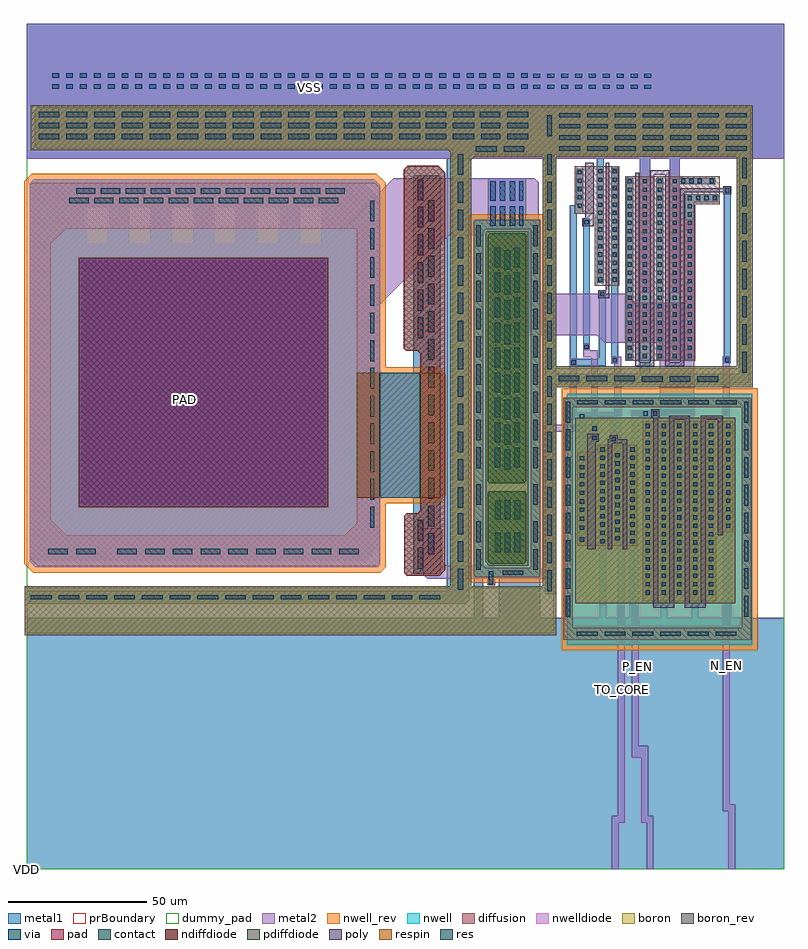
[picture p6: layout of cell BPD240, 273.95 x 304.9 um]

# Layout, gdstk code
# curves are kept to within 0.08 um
import gdstk
lib = gdstk.Library(unit=1e-6, precision=1e-09)
def R(c, l, rs):  # rectangles x0, y0, x1, y1
    for r in rs: c.add(gdstk.rectangle(r[:2], r[2:], *l))
def A(c, l, x, y, w, h, nx, ny, dx, dy):  # array of equal rectangles
    R(c, l, [(x+i*dx, y+j*dy, x+i*dx+w, y+j*dy+h) for i in range(nx) for j in range(ny)])
def P(c, l, *ps):  # polygons
    for p in ps: c.add(gdstk.Polygon(p, *l))
nwell = (1, 0)
diffusion = (2, 0)
nwell_rev = (3, 0)
poly = (4, 0)
boron = (5, 0)
boron_rev = (6, 0)
contact = (7, 0)
metal1 = (8, 0)
via = (9, 0)
metal2 = (10, 0)
pad = (11, 0)
prBoundary = (28, 0)
res = (35, 0)
respin = (36, 0)
pdiffdiode = (37, 0)
nwelldiode = (38, 0)
ndiffdiode = (39, 0)
dummy_pad = (40, 0)

bpd240 = lib.new_cell('BPD240')
R(bpd240, nwell, [(194.95,81.05,261.6,171.4)])
P(bpd240, nwell, [(161.5,105.25),(161.15,105.6),(161.15,233.95),(161.45,234.25),(185,234.25),(185.15,234.1),(185.15,105.6),(184.8,105.25)],
  [(3.15,108.95),(1.05,111.05),(1.05,247.25),(2.6,248.8),(125.25,248.8),(127.4,246.65),(127.4,179.652),(128.002,179.05),(147.45,179.05),(149.1,177.4),(149.1,135.7),(147.45,134.05),(128.058,134.05),(127.45,133.442),(127.45,109.75),(126.65,108.95)])
P(bpd240, diffusion, [(137.101,105.95),(136.1,106.951),(136.1,127.549),(136.951,128.4),(140.987,128.4),(141.85,129.263),(141.85,185.999),(140.849,187),(136.906,187),(136,187.906),(136,252.285),(137.365,253.65),(148.4,253.65),(150.9,251.15),(150.9,108.002),(148.848,105.95)],
  [(193.35,82.75),(193.35,87.2),(193.4,87.2),(193.4,170.1),(257.7,170.1),(257.7,166.6),(196.9,166.6),(196.9,87.2),(257.7,87.2),(257.7,170.1),(261.2,170.1),(261.2,82.75)],
  [(0,85.15),(0,101.45),(153.45,101.45),(153.45,259.248),(152.848,259.85),(3.814,259.85),(2.85,260.814),(2.85,273.45),(4.05,274.65),(186.75,274.65),(186.75,257.65),(160.704,257.65),(159.55,256.496),(159.552,101.45),(186.295,101.45),(186.75,101.905),(186.75,274.65),(256.7,274.65),(256.7,257.65),(190.25,257.65),(190.25,180.7),(256.7,180.7),(256.7,274.65),(261,274.65),(261,174.5),(190.25,174.5),(190.25,85.15)],
  [(222.15,96.6),(222.15,161.6),(254.65,161.6),(254.65,121.6),(248.65,121.6),(248.65,96.6)],
  [(162.101,105.25),(161.15,106.201),(161.15,233.344),(162.056,234.25),(181.65,234.25),(181.65,230.75),(165.536,230.75),(164.65,229.864),(164.65,109.515),(165.415,108.75),(181.395,108.75),(181.65,109.005),(181.65,234.25),(184.95,234.25),(185.15,234.05),(185.15,106.052),(184.348,105.25)],
  [(3.95,109.3),(1.05,112.2),(1.05,246.563),(2.037,247.55),(119,247.55),(119,231),(14.214,231),(8.7,225.486),(8.7,126.204),(14.404,120.5),(114.449,120.5),(119,125.051),(119,247.55),(125.563,247.55),(127.35,245.763),(127.35,109.952),(126.698,109.3)],
  [(167.105,110.25),(166.15,111.205),(166.15,135.6),(166.8,136.25),(179.65,136.25),(180.15,135.75),(180.15,111.15),(179.25,110.25)],
  [(215.7,183.3),(215.7,249.95),(249.8,249.95),(249.8,239.8),(240.95,239.8),(240.95,183.3)],
  [(166.752,139.25),(166.15,139.852),(166.15,228.35),(167.05,229.25),(179.448,229.25),(180.15,228.548),(180.15,140.156),(179.244,139.25)],
  [(198.45,116.6),(198.45,150.6),(205.65,150.6),(205.65,153.1),(220.15,153.1),(220.15,116.6)],
  [(204.85,210.4),(204.85,236.4),(197.65,236.4),(197.65,253.4),(213.7,253.4),(213.7,210.4)])
R(bpd240, nwell_rev, [(192.95,79.05,263.6,173.4)])
P(bpd240, nwell_rev, [(160.672,103.25),(159.15,104.772),(159.15,234.778),(160.622,236.25),(185.828,236.25),(187.15,234.928),(187.15,104.772),(185.628,103.25)],
  [(2.322,106.95),(-0.95,110.222),(-0.95,248.078),(1.772,250.8),(126.078,250.8),(129.4,247.478),(129.4,181.05),(148.278,181.05),(151.1,178.228),(151.1,134.872),(148.278,132.05),(129.45,132.05),(129.45,108.922),(127.478,106.95)])
P(bpd240, poly, [(225.85,94.3),(225.85,162.9),(225.15,162.9),(225.15,165.8),(228.1,165.8),(228.1,162.9),(227.65,162.9),(227.65,96.1),(231.55,96.1),(231.55,163.6),(239.05,163.6),(239.05,96.1),(242.95,96.1),(242.95,163.6),(250.95,163.6),(250.95,120.4),(249.15,120.4),(249.15,162.1),(244.75,162.1),(244.75,94.3),(237.25,94.3),(237.25,162.1),(233.35,162.1),(233.35,94.3)],
  [(219.4,181.3),(219.4,251.15),(220.9,251.15),(220.9,182.8),(224.8,182.8),(224.8,251.95),(231.7,251.95),(231.7,182.8),(235.6,182.8),(235.6,245.6),(251.05,245.6),(251.05,246.2),(254,246.2),(254,243.3),(251.05,243.3),(251.05,244.1),(237.1,244.1),(237.1,181.3),(230.2,181.3),(230.2,250.45),(226.3,250.45),(226.3,181.3)],
  [(209.55,115.4),(209.55,155),(210.1,155),(210.1,156.5),(213.05,156.5),(213.05,155),(216.45,155),(216.45,115.4),(214.95,115.4),(214.95,153.6),(211.05,153.6),(211.05,115.4)],
  [(202.15,115.4),(202.15,157),(206.15,157),(206.15,154.1),(205.15,154.1),(205.15,115.4)],
  [(206,205.95),(206,208.85),(208.8,208.85),(208.8,254.65),(210,254.65),(210,205.95)],
  [(200.35,231.8),(200.35,234.7),(201.35,234.7),(201.35,254.65),(204.35,254.65),(204.35,231.8)])
R(bpd240, boron, [(197.75,95.9,255.45,162.85)])
P(bpd240, boron, [(-0.7,84.45),(-0.7,102.15),(152.75,102.15),(152.75,258.6),(152.2,259.15),(1.4,259.15),(1.4,275.45),(186.05,275.45),(186.05,256.95),(161.451,256.95),(160.25,255.749),(160.25,102.15),(185.7,102.15),(186.05,102.5),(186.05,275.45),(256,275.45),(256,256.95),(190.95,256.95),(190.95,181.45),(256,181.45),(256,275.45),(261.75,275.45),(261.75,173.8),(190.95,173.8),(190.95,84.45)],
  [(166.6,109.55),(165.45,110.7),(165.45,229.5),(165.9,229.95),(180.85,229.95),(180.85,109.55)])
R(bpd240, boron_rev, [(197.75,95.9,255.45,162.85)])
P(bpd240, boron_rev, [(-0.7,84.45),(-0.7,102.15),(152.75,102.15),(152.75,258.6),(152.2,259.15),(1.4,259.15),(1.4,275.45),(186.05,275.45),(186.05,256.95),(161.451,256.95),(160.25,255.749),(160.25,102.15),(185.7,102.15),(186.05,102.5),(186.05,275.45),(256,275.45),(256,256.95),(190.95,256.95),(190.95,181.45),(256,181.45),(256,275.45),(261.75,275.45),(261.75,173.8),(190.95,173.8),(190.95,84.45)],
  [(166.6,109.55),(165.45,110.7),(165.45,229.5),(165.9,229.95),(180.85,229.95),(180.85,109.55)])
A(bpd240, contact, 198.35, 84.25, 7.5, 1.5, 6, 1, 10, 0)
A(bpd240, contact, 194.4, 91.1, 1.5, 7.5, 1, 8, 0, 10)
A(bpd240, contact, 258.7, 91.1, 1.5, 7.5, 1, 8, 0, 10)
A(bpd240, contact, 1.55, 97.3, 7.5, 1.5, 15, 1, 10, 0)
A(bpd240, contact, 223.15, 99.1, 1.5, 1.5, 5, 3, 5.7, 3)
A(bpd240, contact, 187.75, 100.35, 1.5, 7.5, 1, 16, 0, 10)
A(bpd240, contact, 155.45, 100.85, 2, 7.5, 1, 3, 0, 10)
A(bpd240, contact, 228.85, 108.1, 1.5, 1.5, 1, 6, 0, 9)
A(bpd240, contact, 240.25, 108.1, 1.5, 1.5, 1, 6, 0, 9)
A(bpd240, contact, 223.15, 111.1, 1.5, 1.5, 5, 2, 5.7, 3)
A(bpd240, contact, 32.75, 113.55, 7, 2, 9, 1, 10, 0)
A(bpd240, contact, 168.85, 114.4, 2, 7, 3, 2, 3.5, 11.75)
A(bpd240, contact, 206.85, 117.6, 1.5, 1.5, 1, 12, 0, 3)
A(bpd240, contact, 217.65, 117.6, 1.5, 1.5, 1, 12, 0, 3)
A(bpd240, contact, 223.15, 120.1, 1.5, 1.5, 5, 2, 5.7, 3)
A(bpd240, contact, 252.15, 123.1, 1.5, 1.5, 1, 13, 0, 3)
A(bpd240, contact, 123.85, 123.25, 1.5, 7.5, 1, 10, 0, 10)
A(bpd240, contact, 144.85, 123.65, 2, 7.5, 1, 12, 0, 10)
A(bpd240, contact, 212.25, 127.6, 1.5, 1.5, 1, 3, 0, 3)
A(bpd240, contact, 223.15, 129.1, 1.5, 1.5, 5, 2, 5.7, 3)
A(bpd240, contact, 155.45, 130.35, 2, 7.5, 1, 13, 0, 10)
A(bpd240, contact, 223.15, 138.1, 1.5, 1.5, 5, 2, 5.7, 3)
A(bpd240, contact, 172.25, 144.25, 2, 7, 1, 9, 0, 9)
A(bpd240, contact, 162.15, 144.65, 1.5, 7.5, 1, 9, 0, 10)
A(bpd240, contact, 182.65, 144.65, 1.5, 7.5, 1, 9, 0, 10)
A(bpd240, contact, 168.75, 145.05, 2, 7, 1, 9, 0, 9)
A(bpd240, contact, 175.75, 145.05, 2, 7, 1, 9, 0, 9)
A(bpd240, contact, 223.15, 147.1, 1.5, 1.5, 5, 2, 5.7, 3)
A(bpd240, contact, 223.15, 156.1, 1.5, 1.5, 5, 2, 5.7, 3)
A(bpd240, contact, 198.4, 167.6, 7.5, 1.5, 6, 1, 10, 0)
A(bpd240, contact, 221.75, 175.75, 7.5, 2, 3, 1, 10, 0)
A(bpd240, contact, 191.75, 176, 7.5, 2, 3, 1, 10, 0)
A(bpd240, contact, 258, 179.1, 1.5, 7.5, 1, 8, 0, 10)
A(bpd240, contact, 216.7, 184.3, 1.5, 1.5, 5, 2, 5.4, 3)
A(bpd240, contact, 222.1, 190.3, 1.5, 1.5, 1, 3, 0, 6)
A(bpd240, contact, 232.9, 190.3, 1.5, 1.5, 1, 3, 0, 6)
A(bpd240, contact, 141.05, 191.45, 2, 7.5, 1, 5, 0, 10)
A(bpd240, contact, 216.7, 193.3, 1.5, 1.5, 5, 3, 5.4, 6)
A(bpd240, contact, 216.7, 208.3, 1.5, 1.5, 3, 2, 10.8, 6)
A(bpd240, contact, 216.7, 211.3, 1.5, 1.5, 4, 2, 5.4, 18)
A(bpd240, contact, 206.05, 211.9, 1.5, 1.5, 1, 14, 0, 3)
A(bpd240, contact, 211.2, 211.9, 1.5, 1.5, 1, 14, 0, 3)
A(bpd240, contact, 216.7, 217.3, 1.5, 1.5, 5, 2, 5.4, 6)
A(bpd240, contact, 216.7, 226.3, 1.5, 1.5, 3, 1, 10.8, 0)
A(bpd240, contact, 216.7, 232.3, 1.5, 1.5, 5, 4, 5.4, 3)
A(bpd240, contact, 198.65, 238.5, 1.5, 1.5, 1, 5, 0, 3)
A(bpd240, contact, 15.3, 240.05, 7, 2, 11, 1, 9, 0)
A(bpd240, contact, 241.3, 241.3, 1.5, 1.5, 3, 1, 3, 0)
A(bpd240, contact, 17.8, 243.55, 7, 2, 10, 1, 9, 0)
A(bpd240, contact, 216.7, 244.3, 1.5, 1.5, 4, 2, 5.4, 3)
A(bpd240, contact, 235.9, 247.4, 1.5, 1.5, 3, 1, 3, 0)
A(bpd240, contact, 192, 259.1, 7.5, 1.5, 7, 4, 10, 4)
A(bpd240, contact, 4.3, 263.15, 7.5, 2, 14, 3, 10, 4)
A(bpd240, contact, 143.8, 263.15, 7.5, 2, 1, 3, 0, 4)
A(bpd240, contact, 173.3, 263.15, 7.5, 2, 1, 3, 0, 4)
R(bpd240, contact, [(171.55,106.25,179.05,107.75), (162.15,108,163.65,115.5), (182.65,108,184.15,115.5), (141.05,108.4,143.05,115.9), (7.85,113.55,14.85,115.55), (17.85,113.55,24.85,115.55), (162.15,118,163.65,125.5), (182.65,118,184.15,125.5), (199.45,118.2,200.95,119.7), (141.05,118.45,143.05,125.95), (212.25,118.6,213.75,120.1), (212.25,121.6,213.75,123.1), (199.45,122.4,200.95,123.9), (199.45,125.65,200.95,127.15), (199.45,128.85,200.95,130.35), (162.15,131.4,163.65,138.9), (182.65,131.4,184.15,138.9), (199.45,131.85,200.95,133.35), (199.45,135.05,200.95,136.55), (199.45,138.05,200.95,139.55), (212.25,139.6,213.75,141.1), (199.45,141.25,200.95,142.75), (212.25,142.6,213.75,144.1), (199.45,144.25,200.95,145.75), (199.45,147.45,200.95,148.95), (212.25,148.6,213.75,150.1), (210.85,154.3,212.35,155.8), (203.95,154.8,205.45,156.3), (225.85,163.6,227.35,165.1), (238.3,190.3,239.8,191.8), (206.7,206.65,208.2,208.15), (216.7,220.3,218.2,221.8), (227.5,220.3,229,221.8), (123.85,223.6,125.35,231.1), (201.05,232.5,202.55,234), (123.85,233.6,125.35,241.1), (141.05,241.15,143.05,248.65), (107.8,243.55,114.7,245.55), (251.8,244,253.3,245.5), (246.25,247.4,247.75,248.9), (161.95,258.65,169.45,260.65), (171.95,258.65,179.45,260.65), (153.65,263.15,161.3,265.15), (163.8,263.15,170.8,265.15), (187.75,264.35,189.25,271.85), (153.65,267.15,161.3,269.15), (163.8,267.15,170.8,269.15), (153.8,271.15,161.3,273.15), (163.3,271.15,170.8,273.15)])
A(bpd240, metal1, 222.65, 98.6, 2.5, 62.5, 3, 1, 11.4, 0)
R(bpd240, metal1, [(0,0,273,90.7), (211.75,118.1,214.25,151.7), (203.45,154.3,205.95,160.2), (221.95,163.1,227.95,165.6), (210.7,182.3,213.2,252.9), (251.3,182.4,253.8,246), (216.2,183.8,218.7,249.3), (227,183.8,229.5,249.3), (200.55,187.15,203.05,234.5), (0,256.2,273,304.9)])
P(bpd240, metal1, [(0.75,95.85),(0.75,100.5),(151.35,100.5),(151.35,256.2),(0,256.2),(0,304.9),(221,304.9),(221,256.2),(208.05,256.2),(208.05,211.4),(205.55,211.4),(205.55,256.2),(190.95,256.2),(190.95,178.7),(221,178.7),(221,304.9),(257.1,304.9),(257.1,256.2),(235.4,256.2),(235.4,249.4),(248.25,249.4),(248.25,246.9),(235.4,246.9),(235.4,183.8),(231.9,183.8),(231.9,256.2),(224.7,256.2),(224.7,178.7),(257.1,178.7),(257.1,304.9),(273,304.9),(273,256.2),(260.55,256.2),(260.5,175.2),(190.95,175.2),(190.95,99.3),(190.85,99.2),(186.85,99.2),(186.75,99.3),(186.75,255.344),(185.894,256.2),(160.252,256.2),(159.55,255.498),(159.55,97.066),(158.334,95.85)],
  [(2.45,110.8),(1.75,111.5),(1.75,245.949),(3.351,247.55),(29.2,247.55),(29.2,238.55),(21.5,238.55),(21.5,225.55),(29.2,225.55),(29.2,247.55),(44.6,247.55),(44.6,238.55),(36.9,238.55),(36.9,225.55),(44.6,225.55),(44.6,247.55),(60,247.55),(60,238.55),(52.3,238.55),(52.3,225.55),(60,225.55),(60,247.55),(75.4,247.55),(75.4,238.55),(67.7,238.55),(67.7,225.55),(75.4,225.55),(75.4,247.55),(90.8,247.55),(90.8,238.55),(83.1,238.55),(83.1,225.55),(90.8,225.55),(90.8,247.55),(106.2,247.55),(106.2,238.55),(98.5,238.55),(98.5,225.55),(106.2,225.55),(106.2,247.55),(121.25,247.55),(127.4,241.4),(127.4,214),(127.3,214),(127.35,116.437),(121.713,110.8)],
  [(0,0),(0,90.7),(160.689,90.7),(161.15,91.161),(161.15,233.85),(161.55,234.25),(164.197,234.25),(164.65,233.797),(164.65,91.05),(165,90.7),(169.7,90.7),(170.15,91.15),(170.15,108.248),(170.652,108.75),(181.395,108.75),(181.65,109.005),(181.65,233.847),(182.053,234.25),(184.8,234.25),(185.15,233.9),(185.15,91.202),(185.652,90.7),(193.9,90.7),(193.9,169.65),(258.2,169.6),(258.2,167.1),(196.4,167.1),(196.4,90.7),(206.35,90.7),(206.35,152.6),(208.85,152.6),(208.85,90.7),(217.15,90.7),(217.15,152.65),(219.65,152.65),(219.65,90.7),(228.35,90.7),(228.35,161.1),(230.85,161.1),(230.85,90.7),(239.75,90.7),(239.75,161.1),(242.25,161.1),(242.25,90.7),(251.65,90.7),(251.65,161.1),(254.15,161.1),(254.15,90.7),(258.2,90.7),(258.2,169.6),(260.7,169.6),(260.7,90.7),(273,90.7),(273,0)],
  [(139.35,106.65),(139.35,249.685),(139.915,250.25),(148.548,250.25),(149.35,249.448),(149.35,106.65)],
  [(166.15,102.35),(166.15,135.394),(166.157,135.412),(166.237,135.531),(166.956,136.25),(179.348,136.25),(180.15,135.448),(180.15,111.27),(179.13,110.25),(169.601,110.25),(168.65,109.299),(168.65,102.35)],
  [(166.75,139.25),(166.15,139.85),(166.15,248.498),(166.802,249.15),(179.747,249.15),(180.115,248.782),(180.15,248.697),(180.15,140.156),(179.244,139.25)],
  [(195.85,181.5),(195.85,239.35),(198.15,239.35),(198.15,252.5),(200.65,252.5),(200.65,236.4),(198.35,236.4),(198.35,184),(206.15,184),(206.15,208.75),(208.7,208.75),(208.7,181.5)],
  [(237.3,183.8),(237.3,243.3),(249.3,243.3),(249.3,240.5),(240.7,240.5),(240.7,183.8)],
  [(198.95,117.7),(198.95,164.6),(212.85,164.6),(212.85,153.8),(210.35,153.8),(210.35,162.1),(201.45,162.1),(201.45,117.7)])
A(bpd240, via, 223.15, 108.1, 1.5, 1.5, 3, 6, 11.4, 9)
A(bpd240, via, 216.7, 196.3, 1.5, 1.5, 3, 2, 10.8, 6)
A(bpd240, via, 222.1, 208.3, 1.5, 1.5, 1, 4, 0, 6)
A(bpd240, via, 232.9, 208.3, 1.5, 1.5, 1, 4, 0, 6)
A(bpd240, via, 238.3, 211.3, 1.5, 1.5, 1, 3, 0, 9)
A(bpd240, via, 182.7, 281.4, 2.5, 1.5, 9, 2, 5, 4)
A(bpd240, via, 9.2, 281.45, 2.5, 1.5, 27, 2, 5, 4)
A(bpd240, via, 143.7, 281.45, 2.5, 1.5, 4, 2, 5, 4)
A(bpd240, via, 163.2, 281.45, 2.5, 1.5, 4, 2, 5, 4)
R(bpd240, via, [(166.65,102.85,168.15,107.5), (144.85,113.65,146.85,121.15), (212.25,124.6,213.75,126.1), (18.8,130.55,108.8,220.55), (212.25,136.6,213.75,138.1), (212.25,145.6,213.75,147.1), (203.95,158.2,205.45,159.7), (199.45,162.6,200.95,164.1), (222.45,163.6,223.95,165.1), (196.35,182,197.85,183.5), (211.2,182.8,212.7,184.3), (251.8,182.9,253.3,184.4), (201.05,187.65,202.55,189.15), (216.7,190.3,218.2,191.8), (227.5,190.3,229,191.8), (167.05,232.05,169.05,239.05), (170.6,232.05,172.6,239.05), (174.1,232.05,176.1,239.05), (177.6,232.05,179.1,239.05), (167.05,241.05,169.05,248.05), (170.6,241.05,172.6,248.05), (174.1,241.05,176.1,248.05), (177.6,241.05,179.1,248.05)])
R(bpd240, metal2, [(0,256.2,273,304.9)])
P(bpd240, metal2, [(195.85,162.1),(195.85,184),(198.35,184),(198.35,164.6),(201.45,164.6),(201.45,162.1)],
  [(223.45,0),(223.45,16.8),(221.5,16.8),(221.5,40.3),(218.15,40.3),(218.15,165.6),(224.45,165.6),(224.45,163.1),(220.65,163.1),(220.65,44.5),(224,44.5),(224,19.3),(225.95,19.3),(225.95,0)],
  [(210.85,0),(210.85,19.3),(213.1,19.3),(213.1,123.6),(211.75,123.6),(211.75,182.3),(210.7,182.3),(210.7,184.8),(214.25,184.8),(214.25,149.2),(215.6,149.2),(215.6,16.8),(213.35,16.8),(213.35,0)],
  [(222.65,107.6),(222.65,155.1),(228.3,155.1),(228.3,189.8),(208.3,189.8),(205.7,192.4),(205.7,192.6),(170.603,192.6),(167.1,196.103),(167.1,227.8),(166.3,228.6),(152.298,228.6),(113.8,190.118),(113.8,126.352),(112.998,125.55),(14.751,125.55),(13.8,126.501),(13.8,224.7),(14.65,225.55),(108.749,225.55),(132.15,248.951),(132.15,249.15),(183.05,249.15),(184.55,247.65),(184.55,229.85),(183.4,228.7),(183.4,210.404),(186.204,207.6),(216.3,207.6),(219.6,204.3),(237.3,204.3),(237.3,234.3),(240.7,234.3),(240.7,155.5),(247.95,155.5),(247.95,107.6),(245.05,107.6),(245.05,149.4),(237,149.4),(237,107.6),(233.7,107.6),(233.7,149.3),(225.65,149.3),(225.65,107.6)],
  [(252.85,0),(252.85,21),(250.9,21),(250.9,184.9),(253.8,184.9),(253.8,182.4),(253.4,182.4),(253.4,23.5),(255.35,23.5),(255.35,0)],
  [(221,207.8),(221,256.2),(0,256.2),(0,304.9),(273,304.9),(273,256.2),(235.4,256.2),(235.4,207.8),(231.9,207.8),(231.9,256.2),(224.7,256.2),(224.7,207.8)],
  [(166.15,102.35),(165.95,102.55),(165.95,104.6),(165.7,104.85),(144.453,104.85),(142.8,106.503),(142.8,122.548),(143.302,123.05),(149.298,123.05),(149.8,122.548),(149.8,111.101),(151.351,109.55),(168.05,109.55),(169.202,108.3),(186.15,108.3),(186.15,160.2),(203.45,160.2),(203.45,184.7),(200.55,184.7),(200.55,189.65),(203.05,189.65),(203.05,187.2),(205.95,187.2),(205.95,157.7),(189.65,157.7),(189.65,104.75),(169.05,104.75),(168.95,104.65),(168.95,102.45),(168.85,102.35)])
R(bpd240, pad, [(18.8,130.55,108.8,220.55)])
R(bpd240, prBoundary, [(0,0,273,304.9)])
R(bpd240, res, [(127.35,134.05,141.85,179.05)])
R(bpd240, respin, [(119,134.05,127.35,179.05), (141.85,134.05,149.1,179.05)])
P(bpd240, pdiffdiode, [(167.105,110.25),(166.15,111.205),(166.15,135.6),(166.8,136.25),(179.65,136.25),(180.15,135.75),(180.15,111.15),(179.25,110.25)],
  [(166.752,139.25),(166.15,139.852),(166.15,228.35),(167.05,229.25),(179.448,229.25),(180.15,228.548),(180.15,140.156),(179.244,139.25)])
P(bpd240, nwelldiode, [(3.15,108.95),(1.05,111.05),(1.05,247.25),(2.6,248.8),(125.25,248.8),(127.4,246.65),(127.4,179.652),(128.002,179.05),(147.45,179.05),(149.1,177.4),(149.1,135.7),(147.45,134.05),(128.058,134.05),(127.45,133.442),(127.45,109.75),(126.65,108.95)])
P(bpd240, ndiffdiode, [(137.101,105.95),(136.1,106.951),(136.1,127.549),(136.951,128.4),(140.987,128.4),(141.85,129.263),(141.85,185.999),(140.849,187),(136.906,187),(136,187.906),(136,252.285),(137.365,253.65),(148.4,253.65),(150.9,251.15),(150.9,108.002),(148.848,105.95)])
R(bpd240, dummy_pad, [(0,0,273,304.9)])
bpd240.add(gdstk.Label('PAD', (56.87,169.272), layer=10, texttype=7))
bpd240.add(gdstk.Label('VSS', (102,281.801), layer=10, texttype=7))
bpd240.add(gdstk.Label('TO_CORE', (214.85,64.9), layer=10, texttype=7))
bpd240.add(gdstk.Label('N_EN', (252.15,73.55), layer=10, texttype=7))
bpd240.add(gdstk.Label('P_EN', (220.05,73), layer=10, texttype=7))
bpd240.add(gdstk.Label('VDD', (0.001,0.001), layer=8, texttype=7))

lib.write_gds('BPD240.gds')
